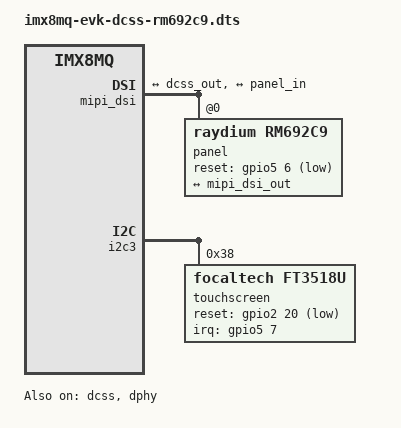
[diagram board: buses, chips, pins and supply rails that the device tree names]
// SPDX-License-Identifier: GPL-2.0+
/*
 * Copyright 2025 NXP.
 */

#include "imx8mq-evk.dts"

/delete-node/ &hdmi;

&dcss {
	status = "okay";

	clocks = <&clk IMX8MQ_CLK_DISP_APB_ROOT>,
		 <&clk IMX8MQ_CLK_DISP_AXI_ROOT>,
		 <&clk IMX8MQ_CLK_DISP_RTRM_ROOT>,
		 <&clk IMX8MQ_CLK_DC_PIXEL>,
		 <&clk IMX8MQ_CLK_DISP_DTRC>,
		 <&clk IMX8MQ_VIDEO2_PLL1_REF_SEL>,
		 <&clk IMX8MQ_CLK_27M>;
	clock-names = "apb", "axi", "rtrm", "pix", "dtrc", "pll_src", "pll_phy_ref";
	assigned-clocks = <&clk IMX8MQ_CLK_DC_PIXEL>,
					  <&clk IMX8MQ_VIDEO_PLL1_BYPASS>,
					  <&clk IMX8MQ_VIDEO_PLL1_REF_SEL>,
					  <&clk IMX8MQ_CLK_DISP_AXI>,
					  <&clk IMX8MQ_CLK_DISP_APB>,
					  <&clk IMX8MQ_CLK_DISP_RTRM>;
	assigned-clock-parents = <&clk IMX8MQ_VIDEO_PLL1_OUT>,
							 <&clk IMX8MQ_VIDEO_PLL1>,
							 <&clk IMX8MQ_CLK_27M>,
							 <&clk IMX8MQ_SYS1_PLL_800M>,
							 <&clk IMX8MQ_SYS1_PLL_800M>,
							 <&clk IMX8MQ_SYS1_PLL_800M>;
	assigned-clock-rates = <148500000>, <0>, <0>,
						   <800000000>,
						   <25000000>,
						   <400000000>;

	port {
		dcss_out: endpoint {
			remote-endpoint = <&mipi_dsi_in>;
		};
	};
};

&mipi_dsi {
	status = "okay";
	#address-cells = <1>;
	#size-cells = <0>;

	panel@0 {
		compatible = "raydium,rm692c9";
		reg = <0>;
		pinctrl-0 = <&pinctrl_mipi_dsi_en>;
		pinctrl-names = "default";
		reset-gpios = <&gpio5 6 GPIO_ACTIVE_LOW>;
		dsi-lanes = <4>;

		port {
			panel_in: endpoint {
				remote-endpoint = <&mipi_dsi_out>;
			};
		};
	};

	ports {
		#address-cells = <1>;
		#size-cells = <0>;

		port@0 {
			#address-cells = <1>;
			#size-cells = <0>;
			reg = <0>;

			mipi_dsi_in: endpoint@1 {
				reg = <1>;
				remote-endpoint = <&dcss_out>;
			};
		};

		port@1 {
			reg = <1>;

			mipi_dsi_out: endpoint {
				remote-endpoint = <&panel_in>;
			};
		};
	};
};

&dphy {
	status = "okay";
};

&iomuxc {
	pinctrl_mipi_dsi_en: mipi_dsi_en {
		fsl,pins = <
			MX8MQ_IOMUXC_ECSPI1_SCLK_GPIO5_IO6	0x16
		>;
	};

	pinctrl_mipi_dsi_ts_rst: mipi_dsi_ts_rst {
		fsl,pins = <
			MX8MQ_IOMUXC_SD2_WP_GPIO2_IO20		0x16
		>;
	};
};

&i2c3 {
	touchscreen@38 {
		compatible = "focaltech,ft3518u";
		reg = <0x38>;
		pinctrl-names = "default";
		pinctrl-0 = <&pinctrl_i2c1_dsi_ts_int>;
		reset-gpio = <&gpio2 20 GPIO_ACTIVE_LOW>;
		irq-gpio = <&gpio5 7 GPIO_ACTIVE_HIGH>;
		touchscreen-size-x = <1080>;
		touchscreen-size-y = <2340>;
		max-touch-number = <10>;
	};
};
